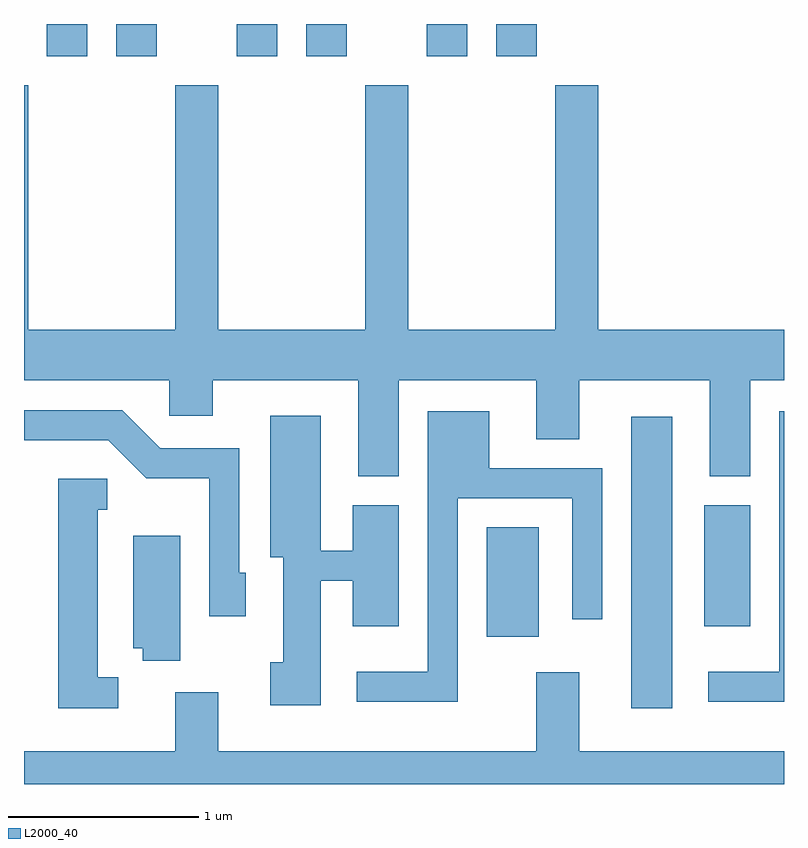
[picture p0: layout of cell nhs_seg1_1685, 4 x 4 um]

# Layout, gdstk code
import gdstk
lib = gdstk.Library(unit=1e-6, precision=1e-09)
def R(c, l, rs):  # rectangles x0, y0, x1, y1
    for r in rs: c.add(gdstk.rectangle(r[:2], r[2:], *l))
def P(c, l, *ps):  # polygons
    for p in ps: c.add(gdstk.Polygon(p, *l))
L2000_40 = (2000, 40)

nhs_seg1_1685 = lib.new_cell('nhs_seg1_1685')
R(nhs_seg1_1685, L2000_40, [(240.806,860.111,241.024,861.644), (240.046,860.486,240.319,861.064), (241.191,860.541,241.434,861.179), (237.731,863.541,237.944,863.712), (238.096,863.541,238.309,863.712), (238.731,863.541,238.944,863.712), (239.096,863.541,239.309,863.712), (239.731,863.541,239.944,863.712), (240.096,863.541,240.309,863.712)])
P(nhs_seg1_1685, L2000_40, [(239.584,861.836),(240.306,861.836),(240.306,861.526),(240.534,861.526),(240.534,861.836),(241.221,861.836),(241.221,861.331),(241.434,861.331),(241.434,861.836),(241.611,861.836),(241.611,862.104),(240.634,862.104),(240.634,863.389),(240.406,863.389),(240.406,862.104),(239.634,862.104),(239.634,863.389),(239.406,863.389),(239.406,862.104),(238.634,862.104),(238.634,863.389),(238.406,863.389),(238.406,862.104),(237.634,862.104),(237.634,863.389),(237.611,863.389),(237.611,861.836),(238.376,861.836),(238.376,861.651),(238.604,861.651),(238.604,861.836),(239.371,861.836),(239.371,861.331),(239.584,861.331)],
  [(238.779,860.824),(238.744,860.824),(238.744,861.479),(238.327,861.479),(238.127,861.679),(237.611,861.679),(237.611,861.521),(238.054,861.521),(238.254,861.321),(238.586,861.321),(238.586,860.596),(238.779,860.596)],
  [(239.894,861.216),(240.496,861.216),(240.496,860.578),(240.654,860.578),(240.654,861.374),(240.059,861.374),(240.059,861.674),(239.736,861.674),(239.736,860.304),(239.363,860.304),(239.363,860.146),(239.894,860.146)],
  [(241.611,861.674),(241.586,861.674),(241.586,860.304),(241.213,860.304),(241.213,860.146),(241.611,860.146)],
  [(239.174,860.781),(239.341,860.781),(239.341,860.541),(239.584,860.541),(239.584,861.179),(239.341,861.179),(239.341,860.939),(239.174,860.939),(239.174,861.649),(238.906,861.649),(238.906,860.906),(238.976,860.906),(238.976,860.354),(238.906,860.354),(238.906,860.126),(239.174,860.126)],
  [(238.108,860.274),(237.999,860.274),(237.999,861.156),(238.048,861.156),(238.048,861.319),(237.791,861.319),(237.791,860.111),(238.108,860.111)],
  [(238.434,861.019),(238.186,861.019),(238.186,860.426),(238.236,860.426),(238.236,860.361),(238.434,860.361)],
  [(238.406,860.194),(238.406,859.884),(237.611,859.884),(237.611,859.712),(241.611,859.712),(241.611,859.884),(240.534,859.884),(240.534,860.299),(240.306,860.299),(240.306,859.884),(238.634,859.884),(238.634,860.194)])

lib.write_gds('nhs_seg1_1685.gds')
